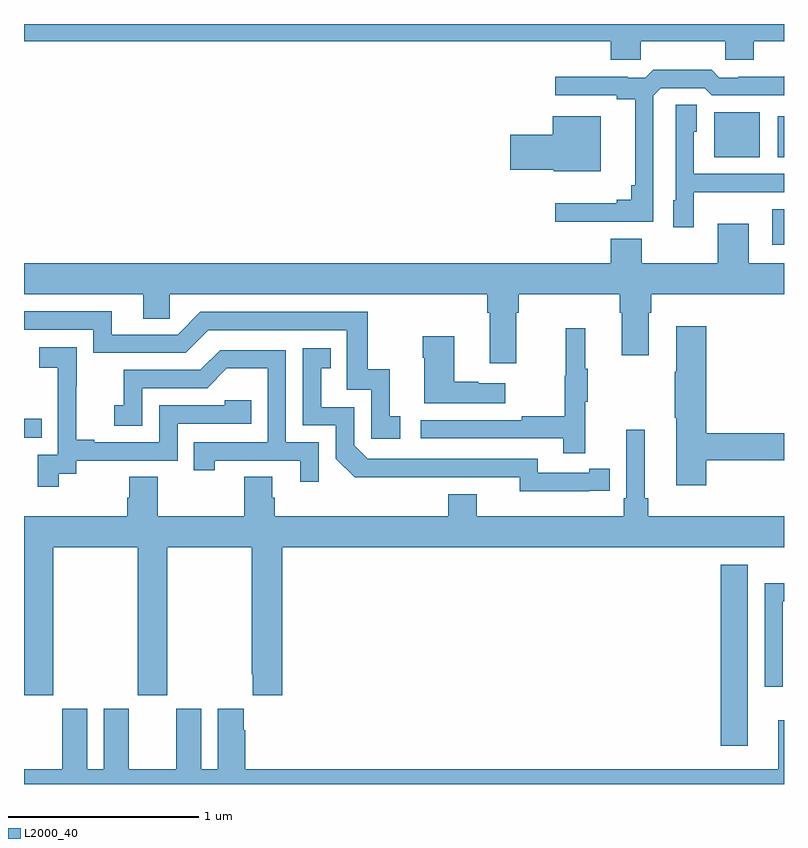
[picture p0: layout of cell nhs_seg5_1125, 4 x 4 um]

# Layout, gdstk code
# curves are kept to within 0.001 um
import gdstk
lib = gdstk.Library(unit=1e-6, precision=1e-09)
def R(c, l, rs):  # rectangles x0, y0, x1, y1
    for r in rs: c.add(gdstk.rectangle(r[:2], r[2:], *l))
def P(c, l, *ps):  # polygons
    for p in ps: c.add(gdstk.Polygon(p, *l))
L2000_40 = (2000, 40)

nhs_seg5_1125 = lib.new_cell('nhs_seg5_1125')
R(nhs_seg5_1125, L2000_40, [(182.666,905.001,182.809,905.953), (179,906.621,179.093,906.722), (182.939,907.638,183,907.824), (182.633,908.099,182.872,908.335), (182.966,908.099,183,908.314)])
P(nhs_seg5_1125, L2000_40, [(182.247,908.708),(182.692,908.708),(182.692,908.61),(182.842,908.61),(182.842,908.708),(183,908.708),(183,908.799),(179,908.799),(179,908.708),(182.087,908.708),(182.087,908.61),(182.247,908.61)],
  [(182.313,908.421),(182.352,908.46),(182.583,908.46),(182.619,908.424),(183,908.424),(183,908.523),(182.758,908.522),(182.758,908.517),(182.658,908.517),(182.619,908.557),(182.311,908.557),(182.271,908.517),(182.177,908.517),(182.177,908.522),(181.797,908.522),(181.797,908.424),(182.12,908.424),(182.12,908.402),(182.216,908.402),(182.216,907.951),(182.197,907.951),(182.197,907.874),(182.12,907.874),(182.12,907.855),(181.797,907.855),(181.797,907.758),(182.313,907.758)],
  [(182.526,907.913),(182.843,907.913),(182.843,907.914),(183,907.914),(183,908.01),(182.526,908.01),(182.526,908.232),(182.542,908.232),(182.542,908.375),(182.43,908.375),(182.43,907.872),(182.417,907.872),(182.417,907.728),(182.526,907.728)],
  [(182.035,908.314),(181.784,908.314),(181.784,908.216),(181.56,908.216),(181.56,908.033),(181.788,908.033),(181.788,908.024),(182.035,908.024)],
  [(181.591,907.28),(181.604,907.28),(181.604,907.376),(182.135,907.376),(182.135,907.28),(182.147,907.28),(182.147,907.056),(182.287,907.056),(182.287,907.28),(182.3,907.28),(182.3,907.376),(183,907.376),(183,907.54),(182.815,907.54),(182.815,907.747),(182.651,907.747),(182.651,907.54),(182.251,907.54),(182.251,907.669),(182.087,907.669),(182.087,907.54),(179,907.54),(179,907.376),(179.627,907.376),(179.627,907.249),(179.766,907.249),(179.766,907.376),(181.439,907.376),(181.439,907.28),(181.451,907.28),(181.451,907.014),(181.591,907.014)],
  [(180.979,906.735),(180.926,906.735),(180.926,906.982),(180.808,906.982),(180.808,907.284),(179.928,907.284),(179.808,907.164),(179.461,907.164),(179.461,907.287),(179,907.287),(179,907.191),(179.364,907.191),(179.364,907.068),(179.85,907.068),(179.97,907.188),(180.699,907.188),(180.699,906.873),(180.828,906.873),(180.828,906.615),(180.979,906.615)],
  [(182.591,906.502),(183,906.502),(183,906.644),(182.591,906.644),(182.591,907.207),(182.432,907.207),(182.432,906.968),(182.425,906.968),(182.425,906.727),(182.432,906.727),(182.432,906.372),(182.591,906.372)],
  [(181.955,906.811),(181.966,906.811),(181.966,906.985),(181.955,906.985),(181.955,907.198),(181.852,907.198),(181.852,906.948),(181.845,906.948),(181.845,906.734),(181.621,906.734),(181.621,906.714),(181.089,906.714),(181.089,906.618),(181.837,906.618),(181.837,906.54),(181.955,906.54)],
  [(181.534,906.907),(181.391,906.907),(181.391,906.917),(181.264,906.917),(181.264,907.156),(181.099,907.156),(181.099,907.043),(181.106,907.043),(181.106,906.803),(181.534,906.803)],
  [(179.182,906.433),(179.274,906.433),(179.274,906.501),(179.808,906.501),(179.808,906.696),(180.197,906.696),(180.197,906.819),(180.057,906.819),(180.057,906.792),(179.712,906.792),(179.712,906.597),(179.371,906.597),(179.371,906.61),(179.276,906.61),(179.276,906.893),(179.277,906.893),(179.277,907.099),(179.079,907.099),(179.079,906.989),(179.177,906.989),(179.177,906.761),(179.178,906.761),(179.178,906.531),(179.073,906.531),(179.073,906.363),(179.182,906.363)],
  [(181.976,906.342),(182.084,906.342),(182.084,906.458),(181.976,906.458),(181.976,906.438),(181.704,906.438),(181.704,906.51),(180.81,906.51),(180.738,906.582),(180.738,906.783),(180.565,906.783),(180.565,906.987),(180.614,906.987),(180.614,907.093),(180.468,907.093),(180.468,906.687),(180.642,906.687),(180.642,906.51),(180.74,906.413),(181.608,906.414),(181.608,906.341)],
  [(180.552,906.597),(180.378,906.597),(180.378,907.083),(180.032,907.083),(179.927,906.978),(179.524,906.978),(179.524,906.793),(179.475,906.793),(179.475,906.684),(179.622,906.684),(179.622,906.882),(179.964,906.882),(180.068,906.986),(180.282,906.986),(180.282,906.597),(179.893,906.597),(179.893,906.45),(180.004,906.45),(180.004,906.501),(180.455,906.501),(180.455,906.39),(180.552,906.39)],
  [(179.154,906.044),(179.599,906.044),(179.599,905.265),(179.754,905.265),(179.754,906.044),(180.199,906.044),(180.199,905.377),(180.203,905.377),(180.203,905.265),(180.359,905.265),(180.359,906.044),(183,906.044),(183,906.208),(182.285,906.208),(182.285,906.304),(182.266,906.304),(182.266,906.664),(182.169,906.664),(182.169,906.304),(182.156,906.304),(182.156,906.208),(181.384,906.208),(181.384,906.325),(181.232,906.325),(181.232,906.208),(180.32,906.208),(180.32,906.306),(180.307,906.306),(180.307,906.416),(180.16,906.416),(180.16,906.208),(179.703,906.208),(179.703,906.416),(179.555,906.416),(179.555,906.306),(179.543,906.306),(179.543,906.208),(179,906.208),(179,905.265),(179.154,905.265)],
  [(182.994,905.76),(183,905.76),(183,905.856),(182.898,905.856),(182.898,905.31),(182.994,905.31)],
  [(180.164,905.081),(180.157,905.081),(180.157,905.194),(180.02,905.194),(180.02,904.876),(179.932,904.876),(179.932,905.194),(179.801,905.194),(179.801,904.876),(179.551,904.876),(179.551,905.194),(179.42,905.194),(179.42,904.876),(179.332,904.876),(179.332,905.194),(179.201,905.194),(179.201,904.876),(179,904.876),(179,904.799),(183,904.799),(183,905.134),(182.969,905.134),(182.969,904.876),(180.164,904.876)])

lib.write_gds('nhs_seg5_1125.gds')
